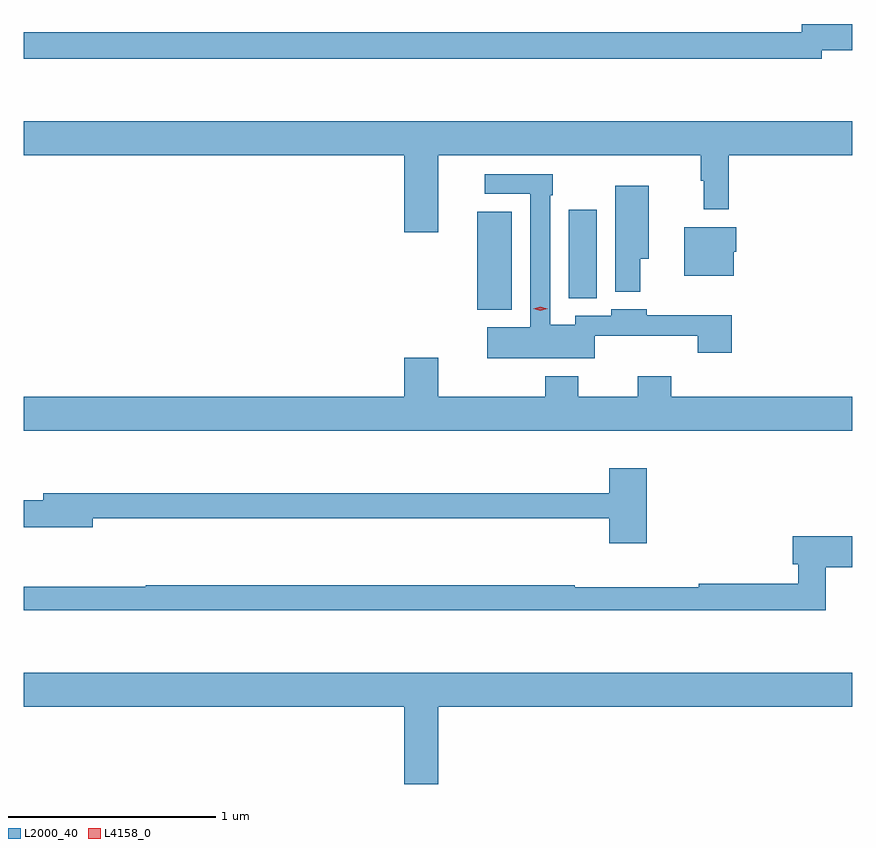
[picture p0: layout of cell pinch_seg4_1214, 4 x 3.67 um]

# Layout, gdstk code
import gdstk
lib = gdstk.Library(unit=1e-6, precision=1e-09)
def R(c, l, rs):  # rectangles x0, y0, x1, y1
    for r in rs: c.add(gdstk.rectangle(r[:2], r[2:], *l))
def P(c, l, *ps):  # polygons
    for p in ps: c.add(gdstk.Polygon(p, *l))
L2000_40 = (2000, 40)
L4158_0 = (4158, 0)

pinch_seg4_1214 = lib.new_cell('pinch_seg4_1214')
R(pinch_seg4_1214, L2000_40, [(369.158,825.377,369.325,825.851), (369.599,825.433,369.736,825.859)])
P(pinch_seg4_1214, L2000_40, [(370.821,826.629),(370.968,826.629),(370.968,826.757),(370.725,826.757),(370.725,826.718),(366.968,826.718),(366.968,826.59),(370.821,826.59)],
  [(368.968,826.124),(370.237,826.124),(370.237,826.001),(370.252,826.001),(370.252,825.861),(370.373,825.861),(370.373,826.124),(370.968,826.124),(370.968,826.288),(366.968,826.288),(366.968,826.124),(368.804,826.124),(368.804,825.75),(368.968,825.75)],
  [(369.726,825.251),(370.223,825.251),(370.223,825.168),(370.388,825.168),(370.388,825.35),(369.977,825.35),(369.977,825.379),(369.806,825.379),(369.806,825.348),(369.63,825.348),(369.63,825.304),(369.51,825.304),(369.51,825.929),(369.523,825.929),(369.523,826.032),(369.195,826.032),(369.195,825.936),(369.414,825.936),(369.414,825.292),(369.207,825.292),(369.207,825.143),(369.726,825.143)],
  [(369.946,825.623),(369.985,825.623),(369.985,825.976),(369.824,825.976),(369.824,825.464),(369.946,825.464)],
  [(370.396,825.657),(370.408,825.657),(370.408,825.775),(370.157,825.775),(370.157,825.542),(370.396,825.542)],
  [(370.968,824.956),(370.094,824.956),(370.094,825.055),(369.934,825.055),(369.934,824.956),(369.645,824.956),(369.645,825.055),(369.485,825.055),(369.485,824.956),(368.968,824.956),(368.968,825.145),(368.804,825.145),(368.804,824.956),(366.968,824.956),(366.968,824.792),(370.968,824.792)],
  [(369.977,824.611),(369.794,824.611),(369.794,824.491),(367.061,824.491),(367.061,824.457),(366.968,824.457),(366.968,824.327),(367.3,824.327),(367.3,824.37),(369.794,824.37),(369.794,824.25),(369.977,824.25)],
  [(370.841,824.132),(370.968,824.132),(370.968,824.282),(370.682,824.282),(370.682,824.147),(370.709,824.147),(370.709,824.054),(370.228,824.054),(370.228,824.036),(369.628,824.036),(369.628,824.047),(367.556,824.047),(367.556,824.039),(366.968,824.039),(366.968,823.926),(370.841,823.926)],
  [(368.968,823.46),(370.968,823.46),(370.968,823.624),(366.968,823.624),(366.968,823.46),(368.804,823.46),(368.804,823.086),(368.968,823.086)])
P(pinch_seg4_1214, L4158_0, [(369.463,825.371),(369.428,825.381),(369.428,825.381),(369.428,825.381),(369.463,825.391),(369.498,825.381),(369.498,825.381),(369.498,825.381)])

lib.write_gds('pinch_seg4_1214.gds')
